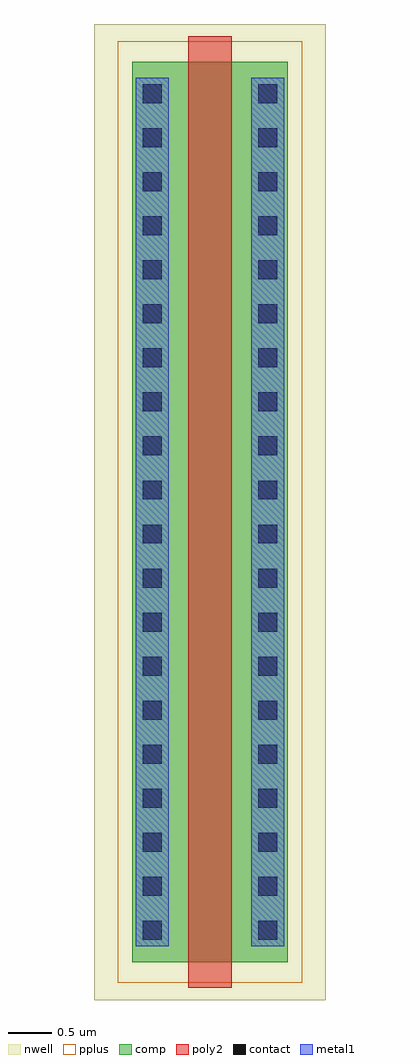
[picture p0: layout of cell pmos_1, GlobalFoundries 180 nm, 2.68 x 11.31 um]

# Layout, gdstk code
import gdstk
lib = gdstk.Library(unit=1e-6, precision=5e-09)
def R(c, l, rs):  # rectangles x0, y0, x1, y1
    for r in rs: c.add(gdstk.rectangle(r[:2], r[2:], *l))
def A(c, l, x, y, w, h, nx, ny, dx, dy):  # array of equal rectangles
    R(c, l, [(x+i*dx, y+j*dy, x+i*dx+w, y+j*dy+h) for i in range(nx) for j in range(ny)])
nwell = (21, 0)
comp = (22, 0)
poly2 = (30, 0)
pplus = (31, 0)
contact = (33, 0)
metal1 = (34, 0)

pmos_1 = lib.new_cell('pmos_1')
R(pmos_1, nwell, [(0,0,2.68,11.31)])
R(pmos_1, comp, [(0.44,0.44,0.9,10.87), (0.9,0.44,1.78,10.87), (1.78,0.44,2.24,10.87)])
R(pmos_1, poly2, [(1.09,0.14,1.59,11.17)])
R(pmos_1, pplus, [(0.27,0.2,2.41,11.11)])
A(pmos_1, contact, 0.56, 0.7, 0.22, 0.22, 1, 20, 0, 0.51)
A(pmos_1, contact, 1.9, 0.7, 0.22, 0.22, 1, 20, 0, 0.51)
R(pmos_1, metal1, [(0.48,0.62,0.86,10.69), (1.82,0.62,2.2,10.69)])

lib.write_gds('pmos_1.gds')
